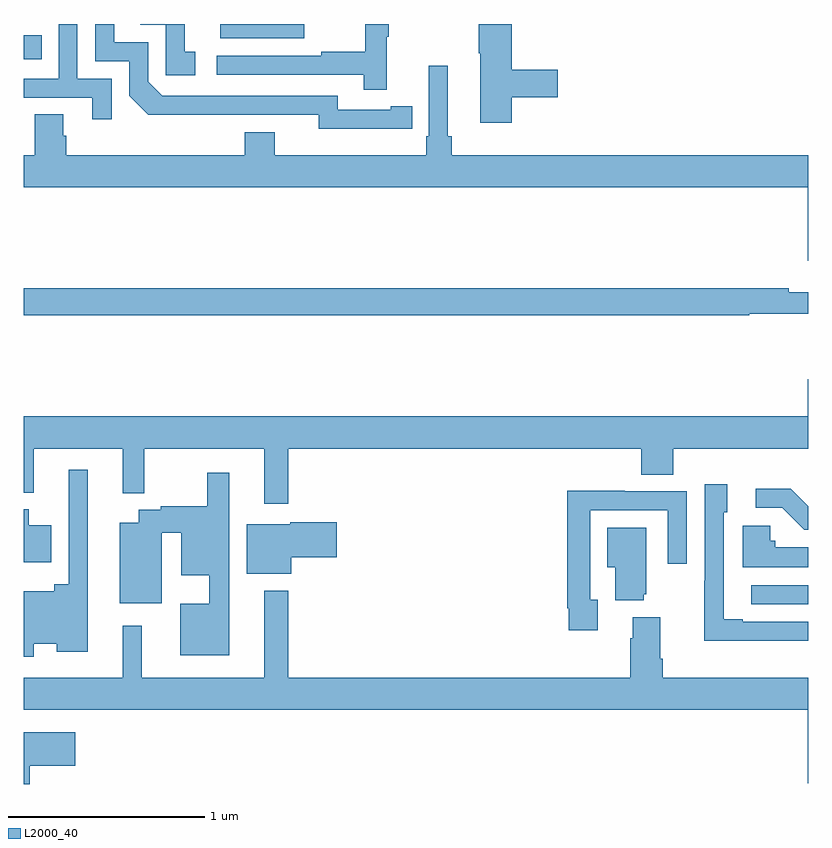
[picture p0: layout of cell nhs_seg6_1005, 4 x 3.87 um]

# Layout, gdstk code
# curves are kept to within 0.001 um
import gdstk
lib = gdstk.Library(unit=1e-6, precision=1e-09)
def R(c, l, rs):  # rectangles x0, y0, x1, y1
    for r in rs: c.add(gdstk.rectangle(r[:2], r[2:], *l))
def P(c, l, *ps):  # polygons
    for p in ps: c.add(gdstk.Polygon(p, *l))
L2000_40 = (2000, 40)

nhs_seg6_1005 = lib.new_cell('nhs_seg6_1005')
R(nhs_seg6_1005, L2000_40, [(176.709,946.542,177,946.638), (173,949.32,173.093,949.443), (174.002,949.427,174.43,949.5)])
P(nhs_seg6_1005, L2000_40, [(174.872,948.966),(174.98,948.966),(174.98,949.082),(174.872,949.082),(174.872,949.062),(174.6,949.062),(174.6,949.134),(173.706,949.134),(173.634,949.206),(173.634,949.407),(173.461,949.407),(173.461,949.5),(173.364,949.5),(173.364,949.311),(173.538,949.311),(173.538,949.134),(173.636,949.037),(174.504,949.038),(174.504,948.965)],
  [(174.851,949.435),(174.862,949.435),(174.862,949.5),(174.741,949.5),(174.741,949.358),(174.517,949.358),(174.517,949.338),(173.985,949.338),(173.985,949.242),(174.733,949.242),(174.733,949.164),(174.851,949.164)],
  [(173.875,949.359),(173.822,949.359),(173.822,949.5),(173.595,949.5),(173.595,949.497),(173.724,949.497),(173.724,949.239),(173.875,949.239)],
  [(175.487,949.126),(175.723,949.126),(175.723,949.268),(175.487,949.268),(175.487,949.5),(175.321,949.5),(175.321,949.351),(175.328,949.351),(175.328,948.996),(175.487,948.996)],
  [(173.448,949.221),(173.274,949.221),(173.274,949.5),(173.178,949.5),(173.178,949.221),(173,949.221),(173,949.125),(173.351,949.125),(173.351,949.014),(173.448,949.014)],
  [(177,948.832),(175.181,948.832),(175.181,948.928),(175.162,948.928),(175.162,949.288),(175.065,949.288),(175.065,948.928),(175.052,948.928),(175.052,948.832),(174.28,948.832),(174.28,948.949),(174.128,948.949),(174.128,948.832),(173.216,948.832),(173.216,948.93),(173.203,948.93),(173.203,949.04),(173.056,949.04),(173.056,948.832),(173,948.832),(173,948.668),(176.996,948.668),(176.996,948.294),(177,948.294)],
  [(176.698,948.024),(177,948.024),(177,948.133),(176.9,948.133),(176.9,948.152),(173,948.152),(173,948.016),(176.698,948.016)],
  [(174.349,947.336),(176.147,947.336),(176.147,947.203),(176.312,947.203),(176.312,947.336),(177,947.336),(177,947.689),(176.996,947.689),(176.996,947.5),(173,947.5),(173,947.111),(173.051,947.111),(173.051,947.336),(173.504,947.336),(173.504,947.108),(173.614,947.108),(173.614,947.336),(174.227,947.336),(174.227,947.055),(174.349,947.055)],
  [(173.052,946.34),(173.168,946.34),(173.168,946.301),(173.326,946.301),(173.326,947.227),(173.229,947.227),(173.229,946.645),(173.156,946.645),(173.156,946.609),(173,946.609),(173,946.275),(173.052,946.275)],
  [(174.049,947.212),(173.935,947.212),(173.935,947.043),(173.7,947.043),(173.7,947.023),(173.588,947.023),(173.588,946.957),(173.489,946.957),(173.489,946.547),(173.704,946.547),(173.704,946.906),(173.804,946.906),(173.804,946.691),(173.945,946.691),(173.945,946.546),(173.798,946.546),(173.798,946.283),(174.049,946.283)],
  [(176.933,946.356),(177,946.356),(177,946.452),(176.665,946.452),(176.665,946.465),(176.568,946.465),(176.568,947.01),(176.587,947.01),(176.587,947.155),(176.472,947.155),(176.472,946.661),(176.47,946.661),(176.47,946.355),(176.933,946.355)],
  [(177,947.043),(176.911,947.132),(176.733,947.132),(176.733,947.034),(176.867,947.034),(176.978,946.923),(177,946.923)],
  [(175.927,946.566),(175.887,946.566),(175.887,947.022),(176.283,947.022),(176.283,946.749),(176.379,946.749),(176.379,947.118),(176.063,947.118),(176.063,947.12),(175.771,947.12),(175.771,946.522),(175.779,946.522),(175.779,946.41),(175.927,946.41)],
  [(173.14,946.945),(173.026,946.945),(173.026,947.026),(173,947.026),(173,946.757),(173.14,946.757)],
  [(174.364,946.781),(174.595,946.781),(174.595,946.959),(174.36,946.959),(174.36,946.951),(174.137,946.951),(174.137,946.697),(174.364,946.697)],
  [(177,946.834),(176.832,946.834),(176.832,946.866),(176.805,946.866),(176.805,946.942),(176.666,946.942),(176.666,946.73),(177,946.73)],
  [(176.162,946.593),(176.173,946.593),(176.173,946.933),(175.976,946.933),(175.976,946.73),(176.015,946.73),(176.015,946.562),(176.162,946.562)],
  [(177,946.168),(176.258,946.168),(176.258,946.264),(176.245,946.264),(176.245,946.477),(176.105,946.477),(176.105,946.37),(176.093,946.37),(176.093,946.168),(174.349,946.168),(174.349,946.612),(174.227,946.612),(174.227,946.168),(173.603,946.168),(173.603,946.432),(173.504,946.432),(173.504,946.168),(173,946.168),(173,946.004),(176.996,946.004),(176.996,945.63),(177,945.63)],
  [(173.032,945.719),(173.263,945.719),(173.263,945.889),(173,945.889),(173,945.626),(173.032,945.626)])

lib.write_gds('nhs_seg6_1005.gds')
